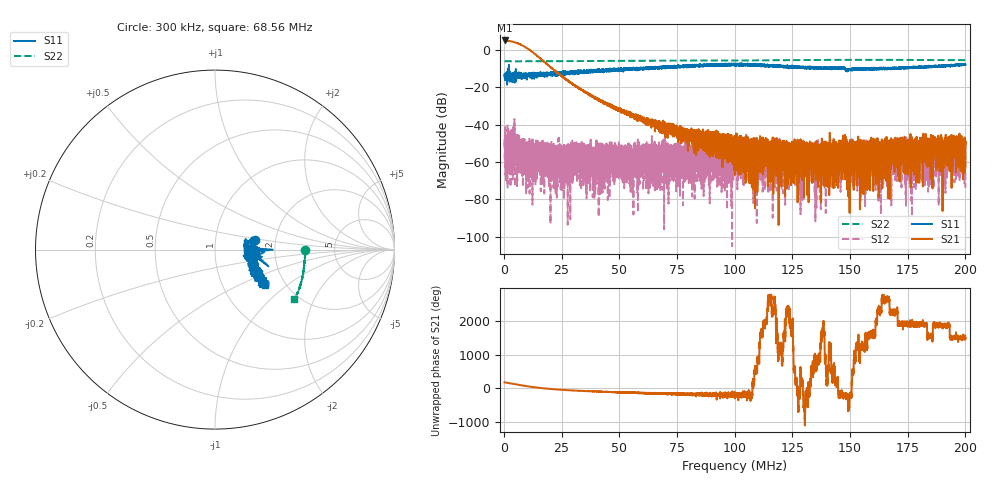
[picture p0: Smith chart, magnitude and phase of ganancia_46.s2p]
# Hz S DB R 50
! CMT, M5065, 19127446, 24.2.4/2
! Date: 11/8/2024 6:44:47 PM
! Data: Format (Calibration Info)
! Freq	S11:dB/Ang(F2)	S21:dB/Ang(F2)	S12:dB/Ang(F2)	S22:dB/Ang(F2)
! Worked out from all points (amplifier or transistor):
!   9000 points, 300 kHz to 200 MHz, reference 50 ohm
!   highest |S21| = 5.2 dB at 388.8 kHz (marker M1)
!   |S21| within 3 dB of that: start of sweep to 8.458 MHz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
!   unconditionally stable (mu >= 1): start of sweep to end of sweep
!   at 33.59 MHz: K = 3219.46, MAG = -19.6 dB, |S12| = -58.2 dB
!   at 100.2 MHz: K = 184260.61, MAG = -57.2 dB, |S12| = -56.5 dB
!   at 200 MHz: K = 418250.33, MAG = -47.0 dB, |S12| = -73.8 dB
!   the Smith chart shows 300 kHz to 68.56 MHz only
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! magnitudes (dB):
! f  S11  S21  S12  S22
! 300 kHz  -12.7  5.2  -51.5  -6.0
! 388.8 kHz  -15.2  5.2  -59.3  -6.0
! 10.06 MHz  -13.3  1.0  -58.2  -6.0
! 23.31 MHz  -11.8  -12.3  -73.0  -5.9
! 25.38 MHz  -13.4  -14.3  -60.4  -5.9
! 30.39 MHz  -11.9  -18.6  -58.2  -5.9
! 33.59 MHz  -11.8  -21.2  -58.2  -5.9
! 66.87 MHz  -9.4  -42.2  -57.7  -5.7
! 100.2 MHz  -7.4  -59.4  -56.5  -5.6
! 109.8 MHz  -8.0  -51.2  -57.3  -5.5
! 114.1 MHz  -7.7  -53.8  -61.9  -5.5
! 116 MHz  -8.0  -58.6  -56.2  -5.5
! 133.4 MHz  -9.3  -55.5  -61.8  -5.3
! 136.4 MHz  -9.6  -53.1  -54.7  -5.3
! 145 MHz  -9.5  -60.4  -57.1  -5.2
! 148.2 MHz  -10.4  -53.2  -60.1  -5.2
! 149.7 MHz  -10.7  -55.1  -58.3  -5.2
! 152.5 MHz  -10.4  -59.8  -54.1  -5.2
! 157.2 MHz  -10.4  -58.8  -58.0  -5.2
! 166.7 MHz  -10.0  -53.6  -58.9  -5.2
! 199 MHz  -7.9  -69.2  -56.6  -5.4
! 200 MHz  -7.9  -49.2  -73.8  -5.4
